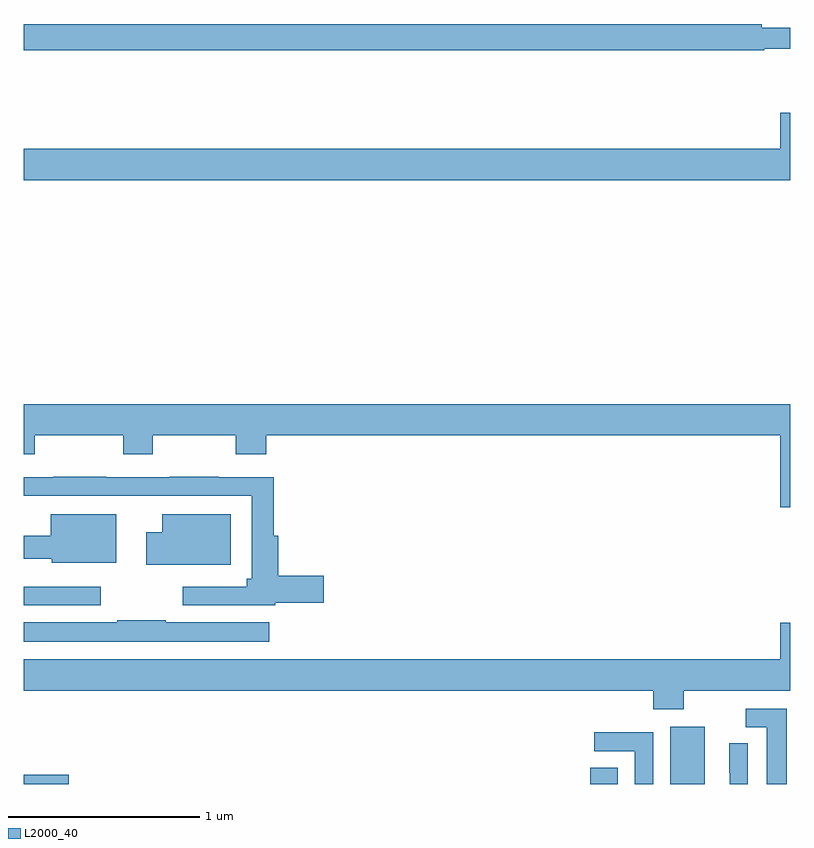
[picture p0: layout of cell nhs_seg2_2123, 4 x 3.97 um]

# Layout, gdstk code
import gdstk
lib = gdstk.Library(unit=1e-6, precision=1e-09)
def R(c, l, rs):  # rectangles x0, y0, x1, y1
    for r in rs: c.add(gdstk.rectangle(r[:2], r[2:], *l))
def P(c, l, *ps):  # polygons
    for p in ps: c.add(gdstk.Polygon(p, *l))
L2000_40 = (2000, 40)

nhs_seg2_2123 = lib.new_cell('nhs_seg2_2123')
R(nhs_seg2_2123, L2000_40, [(221,661.8,221.233,661.848), (223.958,661.8,224.101,661.886), (224.375,661.8,224.554,662.098)])
P(nhs_seg2_2123, L2000_40, [(224.866,665.64),(225,665.64),(225,665.749),(224.852,665.749),(224.852,665.768),(221,665.768),(221,665.632),(224.866,665.632)],
  [(225,665.305),(224.948,665.305),(224.948,665.116),(221,665.116),(221,664.952),(225,664.952)],
  [(225,663.784),(221,663.784),(221,663.521),(221.056,663.521),(221.056,663.62),(221.518,663.62),(221.518,663.521),(221.673,663.521),(221.673,663.62),(222.106,663.62),(222.106,663.521),(222.266,663.521),(222.266,663.62),(224.948,663.62),(224.948,663.246),(225,663.246)],
  [(222.312,662.746),(222.565,662.746),(222.565,662.888),(222.329,662.888),(222.329,663.097),(222.305,663.097),(222.305,663.402),(222.017,663.402),(222.017,663.404),(221.761,663.404),(221.761,663.402),(221.429,663.402),(221.429,663.404),(221.152,663.404),(221.152,663.402),(221,663.402),(221,663.305),(221.045,663.305),(221.045,663.306),(222.189,663.306),(222.189,662.871),(222.164,662.871),(222.164,662.829),(221.829,662.829),(221.829,662.733),(222.312,662.733)],
  [(221.482,663.208),(221.141,663.208),(221.141,663.097),(221,663.097),(221,662.975),(221.145,662.975),(221.145,662.954),(221.482,662.954)],
  [(222.079,663.208),(221.723,663.208),(221.723,663.115),(221.639,663.115),(221.639,662.945),(222.079,662.945)],
  [(221.401,662.829),(221.045,662.829),(221.045,662.83),(221,662.83),(221,662.733),(221.401,662.733)],
  [(222.28,662.644),(221.741,662.644),(221.741,662.654),(221.488,662.654),(221.488,662.644),(221,662.644),(221,662.543),(222.28,662.543)],
  [(224.445,662.288),(225,662.288),(225,662.641),(224.948,662.641),(224.948,662.452),(221,662.452),(221,662.288),(224.285,662.288),(224.285,662.189),(224.445,662.189)],
  [(224.983,662.193),(224.769,662.193),(224.769,662.097),(224.879,662.097),(224.879,661.8),(224.983,661.8)],
  [(224.286,662.07),(223.977,662.07),(223.977,661.971),(224.19,661.971),(224.19,661.8),(224.286,661.8)],
  [(224.778,662.012),(224.682,662.012),(224.682,661.858),(224.684,661.858),(224.684,661.8),(224.778,661.8)])

lib.write_gds('nhs_seg2_2123.gds')
